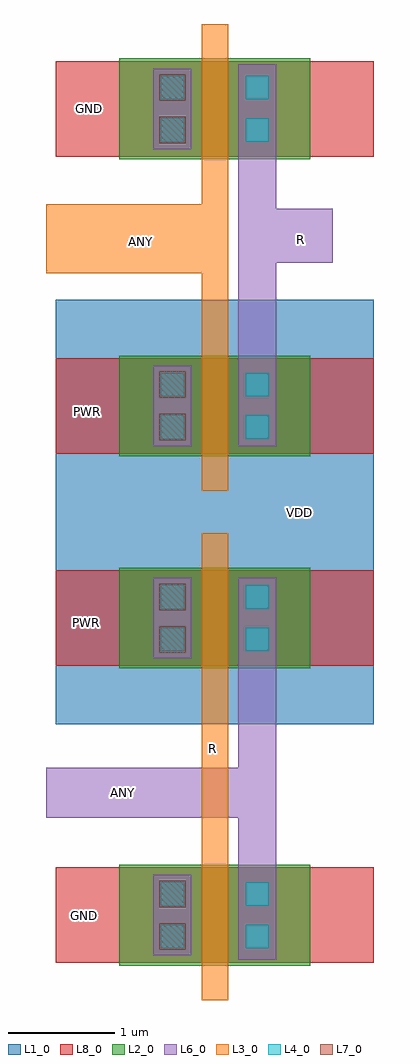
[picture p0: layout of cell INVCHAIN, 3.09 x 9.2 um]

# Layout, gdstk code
from math import pi, radians
import gdstk
lib = gdstk.Library(unit=1e-6, precision=1e-09)
def R(c, l, rs):  # rectangles x0, y0, x1, y1
    for r in rs: c.add(gdstk.rectangle(r[:2], r[2:], *l))
L1_0 = (1, 0)
L2_0 = (2, 0)
L3_0 = (3, 0)
L4_0 = (4, 0)
L6_0 = (6, 0)
L7_0 = (7, 0)
L8_0 = (8, 0)

trans = lib.new_cell('TRANS')
R(trans, L2_0, [(-0.9,-0.475,0.9,0.475)])
R(trans, L4_0, [(-0.51,-0.31,-0.29,-0.09), (0.29,-0.31,0.51,-0.09), (-0.51,0.09,-0.29,0.31), (0.29,0.09,0.51,0.31)])
R(trans, L6_0, [(-0.58,-0.38,-0.22,0.38), (0.22,-0.38,0.58,0.38)])
trans.add(gdstk.FlexPath([(0,-0.8),(0,0.8)], 0.25, ends="flush", simple_path=True, layer=3, datatype=0))  # L3_0

inv = lib.new_cell('INV')
R(inv, L1_0, [(-1.5,1.8,1.5,3.8)])
R(inv, L3_0, [(-0.125,-0.25,0.125,2.25)])
R(inv, L6_0, [(-0.58,-0.42,-0.22,2.42)])
R(inv, L7_0, [(0.275,-0.325,0.525,-0.075), (0.275,0.075,0.525,0.325), (0.275,2.475,0.525,2.725), (0.275,2.875,0.525,3.125)])
R(inv, L8_0, [(-1.5,-0.45,1.5,0.45), (-1.5,2.35,1.5,3.25)])
inv.add(gdstk.Reference(trans, (0,0)))
inv.add(gdstk.Reference(trans, (0,2.8)))

inv2 = lib.new_cell('INV2')
inv2.add(gdstk.Reference(inv, (1.5,0.8), rotation=pi, x_reflection=True))
inv2.add(gdstk.Reference(inv, (1.5,8.4), rotation=pi))
inv2.add(gdstk.Label('R', (2.72,5.56), layer=8, texttype=1))
inv2.add(gdstk.Label('R', (2.63,3.62), layer=8, texttype=1))
inv2.add(gdstk.Label('VSS', (2.68,8.39), layer=8, texttype=1))
inv2.add(gdstk.Label('VSS', (2.65,0.75), layer=8, texttype=1))
inv2.add(gdstk.Label('A1', (1.48,7.11), layer=3, texttype=1))
inv2.add(gdstk.Label('A2', (1.52,1.95), layer=3, texttype=1))
inv2.add(gdstk.Label('Q1', (1.92,7.07), layer=6, texttype=1))
inv2.add(gdstk.Label('Q2', (1.94,1.95), layer=6, texttype=1))

invchain = lib.new_cell('INVCHAIN')
R(invchain, L3_0, [(-0.09,6.85,1.5,7.5)])
R(invchain, L6_0, [(-0.09,1.72,1.8,2.19), (1.92,6.95,2.61,7.46)])
invchain.add(gdstk.Reference(inv2, (0,0)))
invchain.add(gdstk.Label('PWR', (0.3,5.55), layer=8, texttype=1))
invchain.add(gdstk.Label('PWR', (0.29,3.56), layer=8, texttype=1))
invchain.add(gdstk.Label('GND', (0.32,8.4), layer=8, texttype=1))
invchain.add(gdstk.Label('GND', (0.27,0.8), layer=8, texttype=1))
invchain.add(gdstk.Label('VDD', (2.3,4.6), layer=8, texttype=1))
invchain.add(gdstk.Label('ANY', (0.8,7.15), layer=3, texttype=1))
invchain.add(gdstk.Label('R', (1.48,2.37), layer=3, texttype=1))
invchain.add(gdstk.Label('ANY', (0.63,1.96), layer=6, texttype=1))
invchain.add(gdstk.Label('R', (2.31,7.17), layer=6, texttype=1))

lib.write_gds('INVCHAIN.gds')
